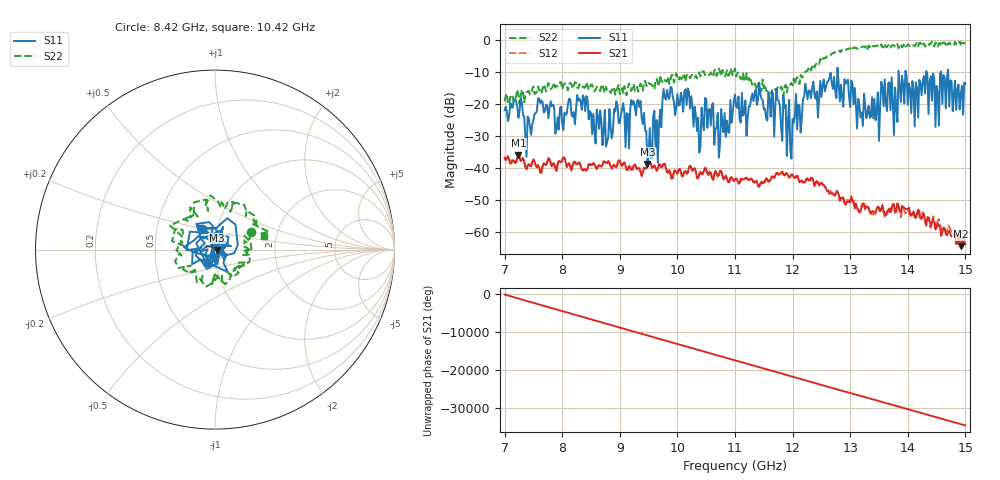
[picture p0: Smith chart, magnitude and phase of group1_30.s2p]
! 4/11/2025 3:29:38 PM
! C:\ANRITSUVNA\LELEC2350\LAB1_2025\GROUP1_30.S2P
! CHANNEL.1
! TR.MEASUREMENT
! CORRECTED.DATA
! RF.CORRECTION: FULL.TWO.PORT.CAL.PORT.1.2
! AVERAGING.OFF
! IF.BANDWIDTH: 300HZ
! SWEEPTYPE:  FREQ.SWEEP(Linear)
! Reference Plane Port Info
! PORT:  PORT1  PORT2
! DISTANCE:  0  m  0  m
! TIME:  0  s  0  s
! PHASE.OFFSET:  0 °  0 °
! LOSS:  0  dB  0  dB
! REF.LOSS:  0  dB  0  dB
! REF.FREQ:  0  Hz  0  Hz
! Power Info
! POWER:  5  dBm  5  dBm
! EFF.POWER:  5  dBm  5  dBm
# GHZ S RI R 50.0
! FREQ.GHZ  S11RE  S11IM  S21RE  S21IM  S12RE  S12IM  S22RE  S22IM
!; PortSelection: Port_12
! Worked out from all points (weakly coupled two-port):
!   401 points, 7 GHz to 15 GHz, reference 50 ohm
!   highest |S21| = -36.07 dB at 7.24 GHz (marker M1); lowest = -64.5 dB at 14.92 GHz (marker M2)
!   lowest |S11| = -38.8 dB at 9.48 GHz (marker M3), VSWR 1.02, Z = 51.1 - j0.198 ohm
!   |S11| at or under -10 dB: start of sweep to 12.78 GHz; 12.79 GHz to 13.84 GHz (1.054 GHz wide, 7.91 % of centre); 13.97 GHz to 14.32 GHz (353.2 MHz wide, 2.5 % of centre) (the widest 3 of 7)
!   |S22| runs from -20.0 to 0.0 dB; largest |S21 - S12| = 0.0007
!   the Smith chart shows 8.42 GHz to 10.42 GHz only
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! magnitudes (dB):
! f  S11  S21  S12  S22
! 7 GHz  -21.9  -36.8  -36.7  -19.1
! 7.24 GHz  -24.3  -36.1  -36.2  -17.0
! 7.4 GHz  -23.9  -39.3  -39.1  -16.0
! 7.62 GHz  -19.7  -41.4  -41.6  -15.6
! 7.92 GHz  -24.1  -38.8  -39.0  -14.4
! 8.34 GHz  -21.8  -40.5  -40.4  -14.7
! 8.74 GHz  -21.8  -38.0  -37.9  -16.4
! 9.34 GHz  -20.9  -40.1  -40.0  -14.3
! 9.48 GHz  -38.8  -39.6  -39.5  -14.4
! 9.68 GHz  -26.7  -38.9  -38.8  -14.4
! 9.86 GHz  -18.4  -40.6  -40.6  -13.6
! 10.16 GHz  -20.2  -41.7  -41.8  -10.9
! 10.36 GHz  -24.2  -43.3  -43.1  -11.2
! 11 GHz  -17.0  -43.5  -43.8  -8.7
! 11.74 GHz  -18.7  -41.6  -41.7  -14.7
! 11.94 GHz  -18.6  -43.0  -43.0  -14.4
! 12.34 GHz  -14.9  -43.1  -43.1  -8.2
! 12.94 GHz  -12.9  -50.5  -49.9  -2.7
! 13.32 GHz  -20.5  -52.5  -52.5  -1.7
! 13.68 GHz  -13.1  -52.7  -53.5  -1.3
! 14.92 GHz  -16.8  -64.5  -63.2  -1.2
! 15 GHz  -13.6  -64.0  -64.1  -0.8
